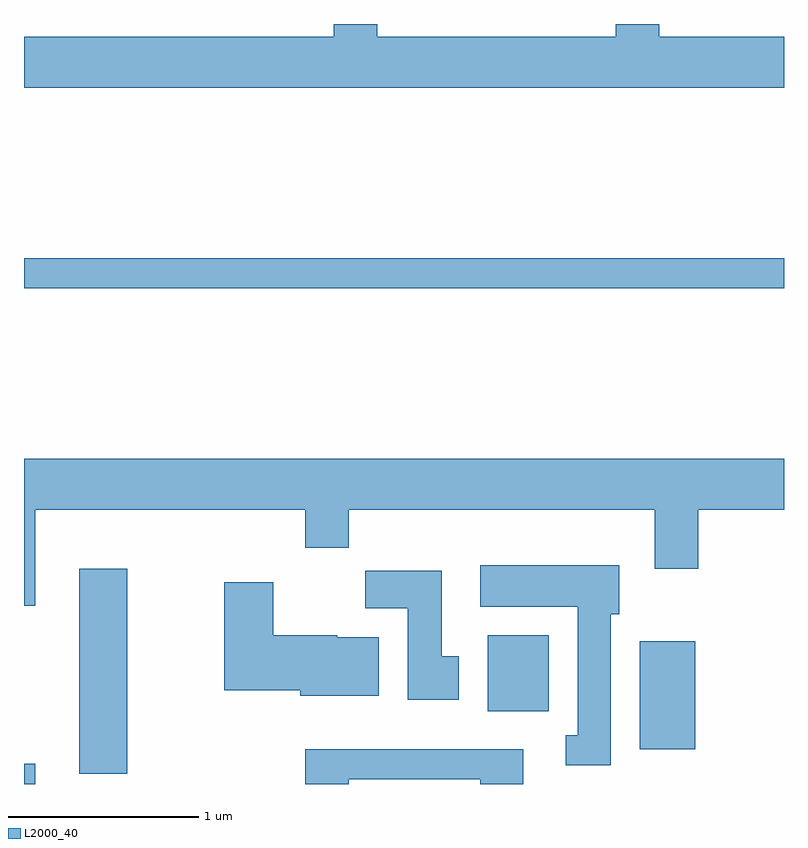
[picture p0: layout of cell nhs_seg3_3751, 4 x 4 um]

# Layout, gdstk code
import gdstk
lib = gdstk.Library(unit=1e-6, precision=1e-09)
def R(c, l, rs):  # rectangles x0, y0, x1, y1
    for r in rs: c.add(gdstk.rectangle(r[:2], r[2:], *l))
def P(c, l, *ps):  # polygons
    for p in ps: c.add(gdstk.Polygon(p, *l))
L2000_40 = (2000, 40)

nhs_seg3_3751 = lib.new_cell('nhs_seg3_3751')
R(nhs_seg3_3751, L2000_40, [(295.611,1137.892,295.669,1137.999), (295.901,1137.946,296.154,1139.024), (298.851,1138.076,299.144,1138.644), (298.051,1138.276,298.374,1138.674), (295.611,1140.501,299.611,1140.659)])
P(nhs_seg3_3751, L2000_40, [(299.611,1141.824),(298.954,1141.824),(298.954,1141.892),(298.726,1141.892),(298.726,1141.824),(297.469,1141.824),(297.469,1141.892),(297.241,1141.892),(297.241,1141.824),(295.611,1141.824),(295.611,1141.556),(299.611,1141.556)],
  [(295.669,1139.336),(297.091,1139.336),(297.091,1139.136),(297.319,1139.136),(297.319,1139.336),(298.931,1139.336),(298.931,1139.026),(299.159,1139.026),(299.159,1139.336),(299.611,1139.336),(299.611,1139.604),(295.611,1139.604),(295.611,1138.831),(295.669,1138.831)],
  [(298.699,1138.786),(298.744,1138.786),(298.744,1139.044),(298.011,1139.044),(298.011,1138.826),(298.526,1138.826),(298.526,1138.149),(298.463,1138.149),(298.463,1137.991),(298.699,1137.991)],
  [(297.899,1138.564),(297.809,1138.564),(297.809,1139.014),(297.406,1139.014),(297.406,1138.816),(297.631,1138.816),(297.631,1138.336),(297.899,1138.336)],
  [(297.479,1138.664),(297.26,1138.664),(297.26,1138.674),(296.924,1138.674),(296.924,1138.954),(296.666,1138.954),(296.666,1138.386),(297.066,1138.386),(297.066,1138.356),(297.479,1138.356)],
  [(297.319,1137.916),(298.011,1137.916),(298.011,1137.892),(298.239,1137.892),(298.239,1138.074),(297.091,1138.074),(297.091,1137.892),(297.319,1137.892)])

lib.write_gds('nhs_seg3_3751.gds')
